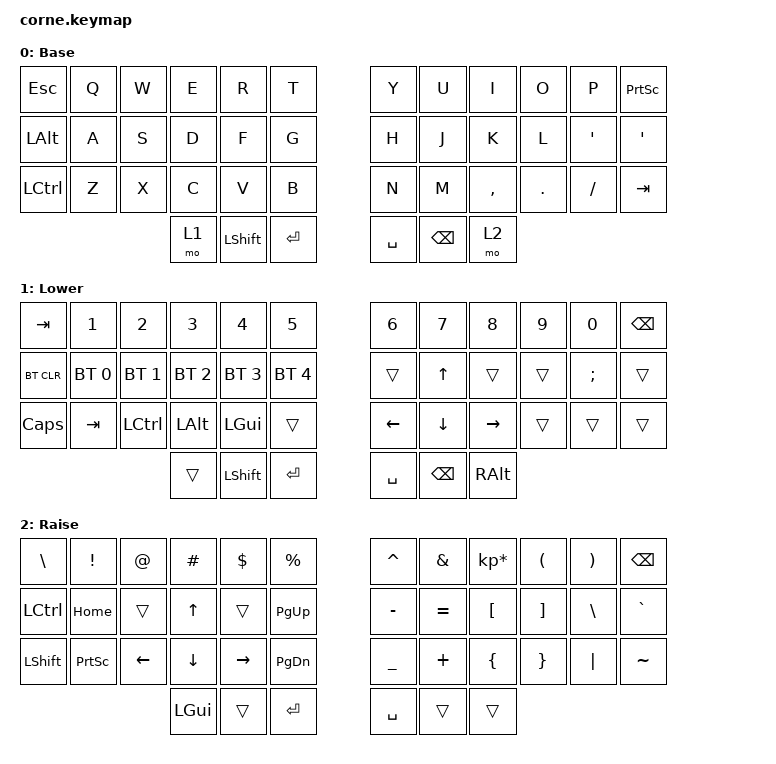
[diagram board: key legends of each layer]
/*
 * Copyright (c) 2020 The ZMK Contributors
 *
 * SPDX-License-Identifier: MIT
 */

#include <behaviors.dtsi>
#include <dt-bindings/zmk/bt.h>
#include <dt-bindings/zmk/keys.h>

/ {
    combos {
        compatible = "zmk,combos";

        ptsc {
            bindings = <&none>;
            key-positions = <0 1>;
        };
    };

    macros {
        new_macro: new_macro {
            compatible = "zmk,behavior-macro";
            #binding-cells = <0>;
            bindings = <&none>;
            label = "NEW_MACRO";
        };
    };

    keymap {
        compatible = "zmk,keymap";

        default_layer {
            // -----------------------------------------------------------------------------------------
            // |  TAB |  Q  |  W  |  E  |  R  |  T  |   |  Y  |  U   |  I  |  O  |  P  | BKSP |
            // | CTRL |  A  |  S  |  D  |  F  |  G  |   |  H  |  J   |  K  |  L  |  ;  |  '   |
            // | SHFT |  Z  |  X  |  C  |  V  |  B  |   |  N  |  M   |  ,  |  .  |  /  | ESC  |
            //                    | GUI | LWR | SPC |   | ENT | RSE  | ALT |

            label = "Base";
            bindings = <
&kp ESCAPE        &kp Q  &kp W  &kp E  &kp R           &kp T        &kp Y      &kp U          &kp I      &kp O    &kp P     &kp PRINTSCREEN
&kp LEFT_ALT      &kp A  &kp S  &kp D  &kp F           &kp G        &kp H      &kp J          &kp K      &kp L    &kp APOS  &kp SQT
&kp LEFT_CONTROL  &kp Z  &kp X  &kp C  &kp V           &kp B        &kp N      &kp M          &kp COMMA  &kp DOT  &kp FSLH  &kp TAB
                                &mo 1  &kp LEFT_SHIFT  &kp ENTER    &kp SPACE  &kp BACKSPACE  &mo 2
            >;
        };

        lower_layer {
            // -----------------------------------------------------------------------------------------
            // |  TAB |  1  |  2  |  3  |  4  |  5  |   |  6  |  7  |  8  |  9  |  0  | BKSP |
            // | BTCLR| BT1 | BT2 | BT3 | BT4 | BT5 |   | LFT | DWN |  UP | RGT |     |      |
            // | SHFT |     |     |     |     |     |   |     |     |     |     |     |      |
            //                    | GUI |     | SPC |   | ENT |     | ALT |

            label = "Lower";
            bindings = <
&kp TAB     &kp N1        &kp N2            &kp N3        &kp N4          &kp N5          &kp N6     &kp N7         &kp N8     &kp N9  &kp N0    &kp BSPC
&bt BT_CLR  &bt BT_SEL 0  &bt BT_SEL 1      &bt BT_SEL 2  &bt BT_SEL 3    &bt BT_SEL 4    &trans     &kp UP_ARROW   &trans     &trans  &kp SEMI  &trans
&kp CAPS    &kp TAB       &kp LEFT_CONTROL  &kp LEFT_ALT  &kp LGUI        &trans          &kp LEFT   &kp DOWN       &kp RIGHT  &trans  &trans    &trans
                                            &trans        &kp LEFT_SHIFT  &kp ENTER       &kp SPACE  &kp BACKSPACE  &kp RALT
            >;
        };

        raise_layer {
            // -----------------------------------------------------------------------------------------
            // |  TAB |  !  |  @  |  #  |  $  |  %  |   |  ^  |  &  |  *  |  (  |  )  | BKSP |
            // | CTRL |     |     |     |     |     |   |  -  |  =  |  [  |  ]  |  \  |  `   |
            // | SHFT |     |     |     |     |     |   |  _  |  +  |  {  |  }  | "|" |  ~   |
            //                    | GUI |     | SPC |   | ENT |     | ALT |

            label = "Raise";
            bindings = <
&kp BACKSLASH  &kp EXCL         &kp AT          &kp HASH  &kp DLLR         &kp PRCNT        &kp CARET  &kp AMPS   &kp KP_MULTIPLY  &kp LPAR  &kp RPAR  &kp BSPC
&kp LCTRL      &kp HOME         &trans          &kp UP    &trans           &kp PAGE_UP      &kp MINUS  &kp EQUAL  &kp LBKT         &kp RBKT  &kp BSLH  &kp GRAVE
&kp LSHFT      &kp PRINTSCREEN  &kp LEFT_ARROW  &kp DOWN  &kp RIGHT_ARROW  &kp PAGE_DOWN    &kp UNDER  &kp PLUS   &kp LBRC         &kp RBRC  &kp PIPE  &kp TILDE
                                                &kp LGUI  &trans           &kp ENTER        &kp SPACE  &trans     &trans
            >;
        };
    };
};
